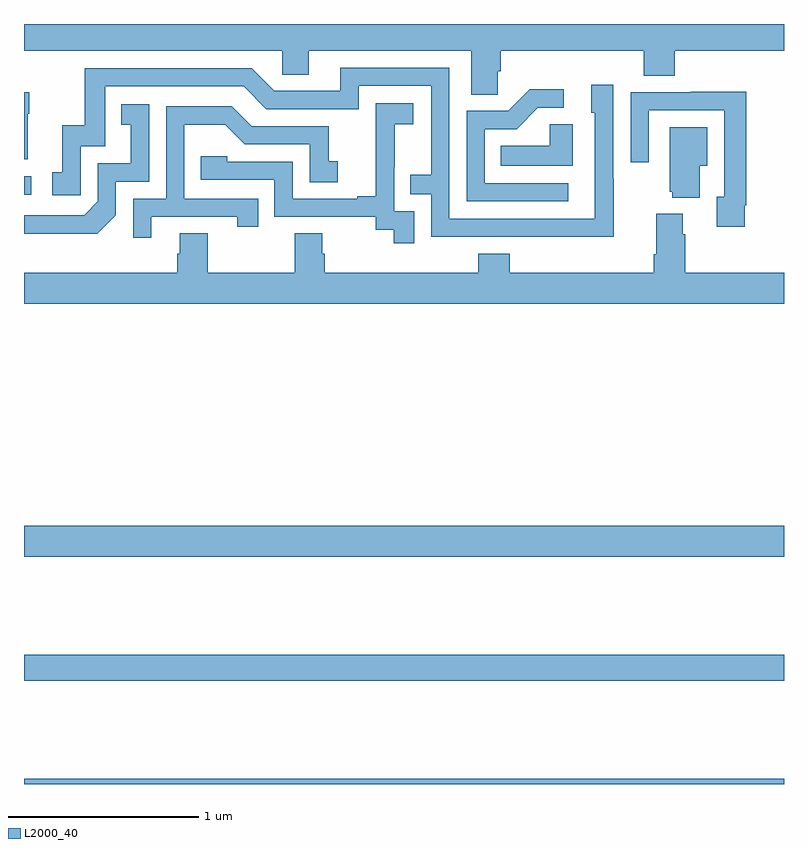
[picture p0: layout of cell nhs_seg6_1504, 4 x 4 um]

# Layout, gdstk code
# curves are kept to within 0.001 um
import gdstk
lib = gdstk.Library(unit=1e-6, precision=1e-09)
def R(c, l, rs):  # rectangles x0, y0, x1, y1
    for r in rs: c.add(gdstk.rectangle(r[:2], r[2:], *l))
def P(c, l, *ps):  # polygons
    for p in ps: c.add(gdstk.Polygon(p, *l))
L2000_40 = (2000, 40)

nhs_seg6_1504 = lib.new_cell('nhs_seg6_1504')
R(nhs_seg6_1504, L2000_40, [(203,919.5,207,919.528), (203,920.044,207,920.18), (203,920.696,207,920.86), (203,922.602,203.038,922.698)])
P(nhs_seg6_1504, L2000_40, [(205.494,923.251),(205.508,923.251),(205.508,923.36),(206.261,923.36),(206.261,923.227),(206.426,923.227),(206.426,923.36),(207,923.36),(207,923.5),(203,923.5),(203,923.36),(204.36,923.36),(204.36,923.233),(204.499,923.233),(204.499,923.36),(205.355,923.36),(205.355,923.128),(205.494,923.128)],
  [(206.103,922.685),(206.1,922.685),(206.1,923.179),(205.985,923.179),(205.985,923.034),(206.004,923.034),(206.004,922.476),(205.239,922.476),(205.239,923.271),(204.665,923.271),(204.665,923.148),(204.318,923.148),(204.198,923.268),(203.319,923.268),(203.319,922.966),(203.201,922.966),(203.201,922.719),(203.148,922.719),(203.148,922.599),(203.298,922.599),(203.298,922.857),(203.427,922.857),(203.427,923.172),(204.156,923.172),(204.276,923.052),(204.762,923.052),(204.762,923.175),(205.143,923.175),(205.143,922.706),(205.033,922.706),(205.033,922.605),(205.143,922.605),(205.143,922.38),(206.103,922.379)],
  [(205.864,922.662),(205.425,922.662),(205.425,922.947),(205.594,922.947),(205.705,923.058),(205.84,923.058),(205.84,923.156),(205.661,923.156),(205.548,923.043),(205.329,923.043),(205.329,922.566),(205.864,922.566)],
  [(206.794,922.546),(206.801,922.546),(206.801,923.144),(206.509,923.144),(206.509,923.142),(206.193,923.142),(206.193,922.773),(206.289,922.773),(206.289,923.046),(206.685,923.046),(206.685,922.59),(206.645,922.59),(206.645,922.434),(206.794,922.434)],
  [(203.02,923.027),(203.028,923.027),(203.028,923.14),(203,923.14),(203,922.787),(203.02,922.787)],
  [(205.053,922.515),(204.948,922.515),(204.948,922.745),(204.95,922.745),(204.95,922.973),(205.048,922.973),(205.048,923.083),(204.85,923.083),(204.85,922.877),(204.851,922.877),(204.851,922.594),(204.755,922.594),(204.755,922.581),(204.414,922.581),(204.414,922.776),(204.069,922.776),(204.069,922.803),(203.929,922.803),(203.929,922.68),(204.318,922.68),(204.318,922.485),(204.852,922.485),(204.852,922.417),(204.945,922.417),(204.945,922.347),(205.053,922.347)],
  [(203.484,922.494),(203.484,922.671),(203.658,922.671),(203.658,923.077),(203.512,923.077),(203.512,922.971),(203.561,922.971),(203.561,922.767),(203.388,922.767),(203.388,922.566),(203.316,922.494),(203,922.494),(203,922.397),(203.386,922.397)],
  [(203.671,922.485),(204.122,922.485),(204.122,922.434),(204.233,922.434),(204.233,922.581),(203.844,922.581),(203.844,922.97),(204.058,922.97),(204.162,922.866),(204.504,922.866),(204.504,922.668),(204.652,922.668),(204.652,922.777),(204.603,922.777),(204.603,922.962),(204.199,922.962),(204.094,923.067),(203.748,923.067),(203.748,922.581),(203.574,922.581),(203.574,922.374),(203.671,922.374)],
  [(205.888,922.973),(205.767,922.973),(205.767,922.858),(205.51,922.858),(205.51,922.754),(205.888,922.754)],
  [(206.557,922.754),(206.596,922.754),(206.596,922.957),(206.399,922.957),(206.399,922.617),(206.411,922.617),(206.411,922.586),(206.557,922.586)],
  [(207,922.192),(206.48,922.192),(206.48,922.394),(206.467,922.394),(206.467,922.501),(206.327,922.501),(206.327,922.288),(206.315,922.288),(206.315,922.192),(205.556,922.192),(205.556,922.291),(205.391,922.291),(205.391,922.192),(204.584,922.192),(204.584,922.29),(204.571,922.29),(204.571,922.4),(204.424,922.4),(204.424,922.192),(203.967,922.192),(203.967,922.4),(203.819,922.4),(203.819,922.29),(203.807,922.29),(203.807,922.192),(203,922.192),(203,922.028),(207,922.028)])

lib.write_gds('nhs_seg6_1504.gds')
